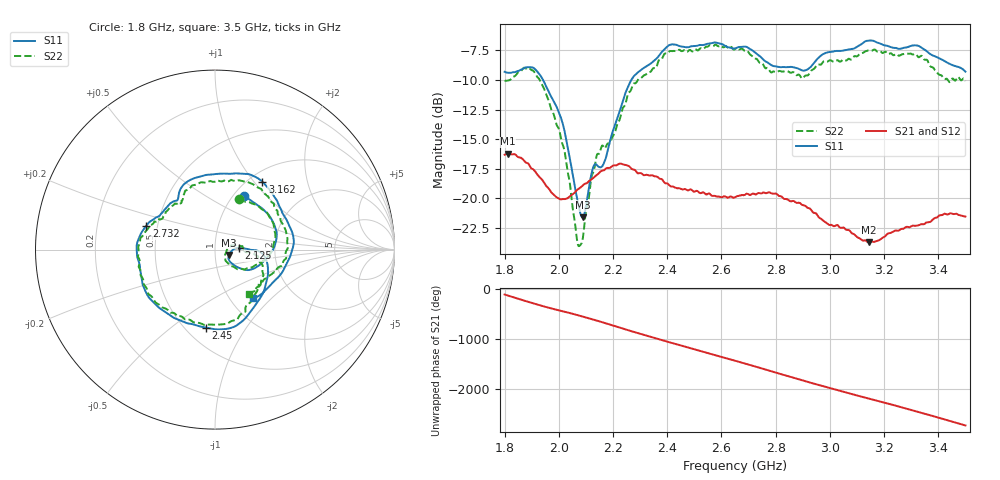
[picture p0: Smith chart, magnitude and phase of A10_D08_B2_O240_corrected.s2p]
! Created with skrf 1.9.0 (http://scikit-rf.org).
# Hz S RI R 50.0
!freq ReS11 ImS11 ReS21 ImS21 ReS12 ImS12 ReS22 ImS22
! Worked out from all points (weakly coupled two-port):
!   1601 points, 1.8 GHz to 3.5 GHz, reference 50 ohm
!   highest |S21| = -16.23 dB at 1.812 GHz (marker M1); lowest = -23.7 dB at 3.144 GHz (marker M2)
!   lowest |S11| = -21.6 dB at 2.088 GHz (marker M3), VSWR 1.18, Z = 58.3 - j3.47 ohm
!   |S11| at or under -10 dB: 1.942 GHz to 2.268 GHz (325.8 MHz wide, 15.5 % of centre)
!   |S22| runs from -24.0 to -7.0 dB; largest |S21 - S12| = 0.003
!   S11 on the Smith chart (normalised r, x): 1.8 GHz: 1.12, +0.76; 2.125 GHz: 1.31, +0.02; 2.45 GHz: 0.62, -0.67; 2.732 GHz: 0.43, +0.14; 3.162 GHz: 1.15, +1.11; 3.5 GHz: 1.27, -0.78
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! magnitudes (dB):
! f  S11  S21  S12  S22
! 1.8 GHz  -9.3  -16.3  -16.3  -10.0
! 1.812 GHz  -9.4  -16.2  -16.2  -10.1
! 1.887 GHz  -8.9  -17.1  -17.1  -9.0
! 1.941 GHz  -10.0  -18.5  -18.5  -10.5
! 2.013 GHz  -13.5  -20.1  -20.1  -15.4
! 2.068 GHz  -20.0  -19.3  -19.3  -23.6
! 2.084 GHz  -21.5  -19.0  -19.0  -23.8
! 2.088 GHz  -21.6  -18.9  -18.9  -23.4
! 2.125 GHz  -17.5  -18.3  -18.3  -17.9
! 2.167 GHz  -17.0  -17.6  -17.6  -15.7
! 2.269 GHz  -10.0  -17.5  -17.5  -10.7
! 2.367 GHz  -8.0  -18.2  -18.2  -8.4
! 2.45 GHz  -7.2  -19.2  -19.2  -7.5
! 2.65 GHz  -7.3  -19.9  -19.9  -7.4
! 2.732 GHz  -7.8  -19.6  -19.6  -8.3
! 2.934 GHz  -8.8  -21.1  -21.0  -9.2
! 3.144 GHz  -6.7  -23.7  -23.6  -7.5
! 3.162 GHz  -6.7  -23.7  -23.6  -7.4
! 3.217 GHz  -7.2  -22.9  -22.9  -7.8
! 3.326 GHz  -7.1  -22.3  -22.2  -8.1
! 3.436 GHz  -8.6  -21.3  -21.3  -10.0
! 3.5 GHz  -9.3  -21.5  -21.5  -10.1
